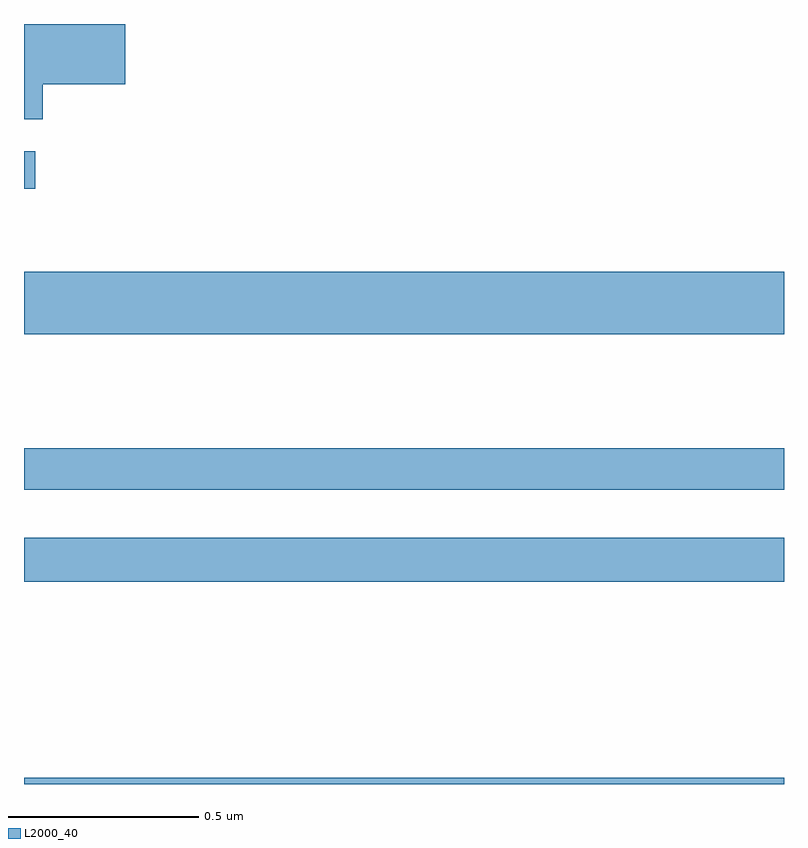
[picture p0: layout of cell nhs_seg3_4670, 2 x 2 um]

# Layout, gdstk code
import gdstk
lib = gdstk.Library(unit=1e-6, precision=1e-09)
def R(c, l, rs):  # rectangles x0, y0, x1, y1
    for r in rs: c.add(gdstk.rectangle(r[:2], r[2:], *l))
def P(c, l, *ps):  # polygons
    for p in ps: c.add(gdstk.Polygon(p, *l))
L2000_40 = (2000, 40)

nhs_seg3_4670 = lib.new_cell('nhs_seg3_4670')
R(nhs_seg3_4670, L2000_40, [(169,698.4,171,698.416), (169,698.932,171,699.048), (169,699.174,171,699.283), (169,699.584,171,699.748), (169,699.967,169.03,700.065)])
P(nhs_seg3_4670, L2000_40, [(169.049,700.241),(169.267,700.241),(169.267,700.4),(169,700.4),(169,700.15),(169.049,700.15)])

lib.write_gds('nhs_seg3_4670.gds')
